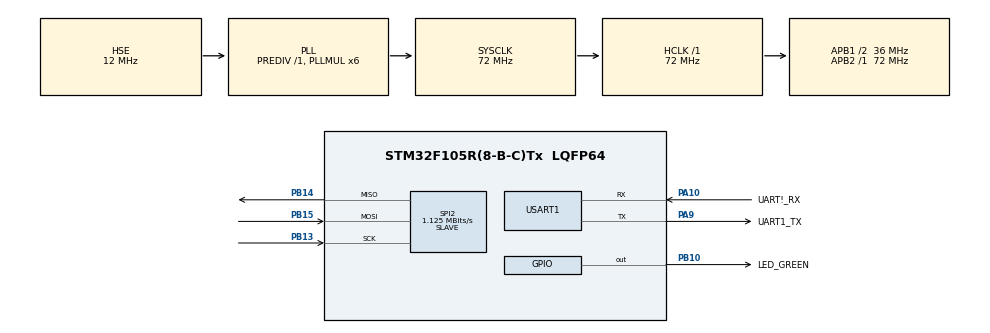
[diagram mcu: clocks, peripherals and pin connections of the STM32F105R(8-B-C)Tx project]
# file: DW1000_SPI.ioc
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Mcu.Family=STM32F1
Mcu.Name=STM32F105R(8-B-C)Tx
Mcu.Package=LQFP64
NVIC.PriorityGroup=NVIC_PRIORITYGROUP_4
PA10.GPIO_Label=UART\!_RX
PA10.Mode=Asynchronous
PA10.Signal=USART1_RX
PA13.Mode=JTAG_5_pins
PA13.Signal=SYS_JTMS-SWDIO
PA14.Mode=JTAG_5_pins
PA14.Signal=SYS_JTCK-SWCLK
PA15.Mode=JTAG_5_pins
PA15.Signal=SYS_JTDI
PA9.GPIO_Label=UART1_TX
PA9.Mode=Asynchronous
PA9.Signal=USART1_TX
PB10.GPIO_Label=LED_GREEN
PB10.GPIO_Speed=GPIO_SPEED_FREQ_HIGH
PB10.PinState=GPIO_PIN_SET
PB10.Signal=GPIO_Output
PB13.Mode=Full_Duplex_Slave
PB13.Signal=SPI2_SCK
PB14.Mode=Full_Duplex_Slave
PB14.Signal=SPI2_MISO
PB15.Mode=Full_Duplex_Slave
PB15.Signal=SPI2_MOSI
PB3.Mode=JTAG_5_pins
PB3.Signal=SYS_JTDO
PB4.Mode=JTAG_5_pins
PB4.Signal=SYS_NJTRST
PD0-OSC_IN.Mode=HSE-External-Oscillator
PD0-OSC_IN.Signal=RCC_OSC_IN
PD1-OSC_OUT.Mode=HSE-External-Oscillator
PD1-OSC_OUT.Signal=RCC_OSC_OUT
ProjectManager.HeapSize=0x2000
ProjectManager.StackSize=0x4000
ProjectManager.TargetToolchain=MDK-ARM V5
RCC.AHBFreq_Value=72000000
RCC.APB1CLKDivider=RCC_HCLK_DIV2
RCC.APB1Freq_Value=36000000
RCC.APB1TimFreq_Value=72000000
RCC.APB2Freq_Value=72000000
RCC.APB2TimFreq_Value=72000000
RCC.HCLKFreq_Value=72000000
RCC.HSE_VALUE=12000000
RCC.PLLMUL=RCC_PLL_MUL6
RCC.PLLSourceVirtual=RCC_PLLSOURCE_HSE
RCC.SYSCLKFreq_VALUE=72000000
RCC.SYSCLKSource=RCC_SYSCLKSOURCE_PLLCLK
RCC.USBFreq_Value=48000000
SPI2.BaudRatePrescaler=SPI_BAUDRATEPRESCALER_32
SPI2.CalculateBaudRate=1.125 MBits/s
SPI2.Direction=SPI_DIRECTION_2LINES
SPI2.Mode=SPI_MODE_SLAVE
SPI2.VirtualType=VM_SLAVE
USART1.VirtualMode=VM_ASYNC
board=DW1000_SPI

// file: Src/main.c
/**
  ******************************************************************************
  * File Name          : main.c
  * Description        : Main program body
  ******************************************************************************
  ** This notice applies to any and all portions of this file
  * that are not between comment pairs USER CODE BEGIN and
  * USER CODE END. Other portions of this file, whether
  * inserted by the user or by software development tools
  * are owned by their respective copyright owners.
  *
  * COPYRIGHT(c) 2017 STMicroelectronics
  *
  * Redistribution and use in source and binary forms, with or without modification,
  * are permitted provided that the following conditions are met:
  *   1. Redistributions of source code must retain the above copyright notice,
  *      this list of conditions and the following disclaimer.
  *   2. Redistributions in binary form must reproduce the above copyright notice,
  *      this list of conditions and the following disclaimer in the documentation
  *      and/or other materials provided with the distribution.
  *   3. Neither the name of STMicroelectronics nor the names of its contributors
  *      may be used to endorse or promote products derived from this software
  *      without specific prior written permission.
  *
  * THIS SOFTWARE IS PROVIDED BY THE COPYRIGHT HOLDERS AND CONTRIBUTORS "AS IS"
  * AND ANY EXPRESS OR IMPLIED WARRANTIES, INCLUDING, BUT NOT LIMITED TO, THE
  * IMPLIED WARRANTIES OF MERCHANTABILITY AND FITNESS FOR A PARTICULAR PURPOSE ARE
  * DISCLAIMED. IN NO EVENT SHALL THE COPYRIGHT HOLDER OR CONTRIBUTORS BE LIABLE
  * FOR ANY DIRECT, INDIRECT, INCIDENTAL, SPECIAL, EXEMPLARY, OR CONSEQUENTIAL
  * DAMAGES (INCLUDING, BUT NOT LIMITED TO, PROCUREMENT OF SUBSTITUTE GOODS OR
  * SERVICES; LOSS OF USE, DATA, OR PROFITS; OR BUSINESS INTERRUPTION) HOWEVER
  * CAUSED AND ON ANY THEORY OF LIABILITY, WHETHER IN CONTRACT, STRICT LIABILITY,
  * OR TORT (INCLUDING NEGLIGENCE OR OTHERWISE) ARISING IN ANY WAY OUT OF THE USE
  * OF THIS SOFTWARE, EVEN IF ADVISED OF THE POSSIBILITY OF SUCH DAMAGE.
  *
  ******************************************************************************
  */
#include "main.h"
#include "stm32f1xx_hal.h"
#include <stdint.h>
#include <string.h>

SPI_HandleTypeDef hspi2;

UART_HandleTypeDef huart1;

/* USER CODE BEGIN PV */
/* Private variables ---------------------------------------------------------*/

/* USER CODE END PV */

void SystemClock_Config(void);
static void MX_GPIO_Init(void);
static void MX_SPI2_Init(void);
static void MX_USART1_UART_Init(void);
void sendresult(void);

uint8_t result_read_flag=0;

/* Buffer used for transmission */
uint8_t aTxBuffer[10];
uint8_t aa[10] = {0x0F,0x1F,0x2F,0x3F,0x4F,0x5B,0x0B,0x0B,0x0B,0x0B};
/* Buffer used for reception */
uint8_t aRxBuffer[10];

/* USER CODE BEGIN PFP */
/* Private function prototypes -----------------------------------------------*/

/* USER CODE END PFP */

int main(void)
{

  /* MCU Configuration----------------------------------------------------------*/

  /* Reset of all peripherals, Initializes the Flash interface and the Systick. */
  HAL_Init();

  /* Configure the system clock */
  SystemClock_Config();

  /* Initialize all configured peripherals */
  MX_GPIO_Init();
  MX_SPI2_Init();
  MX_USART1_UART_Init();

  /* USER CODE BEGIN 2 */
	HAL_Delay(1000);

  /* USER CODE END 2 */

  /* Infinite loop */
  /* USER CODE BEGIN WHILE */
	sendresult();
	result_read_flag=1;
  while (1)
  {
		HAL_UART_Transmit(&huart1,"a",1,5000);
		HAL_Delay(100);
		if(result_read_flag==0){
			HAL_UART_Transmit(&huart1,aRxBuffer,5,5000);
			result_read_flag=1;
			sendresult();
		}
  /* USER CODE END WHILE */

  }

}

/** System Clock Configuration
*/
void SystemClock_Config(void)
{

  RCC_OscInitTypeDef RCC_OscInitStruct;
  RCC_ClkInitTypeDef RCC_ClkInitStruct;

    /**Initializes the CPU, AHB and APB busses clocks
    */
  RCC_OscInitStruct.OscillatorType = RCC_OSCILLATORTYPE_HSE;
  RCC_OscInitStruct.HSEState = RCC_HSE_ON;
  RCC_OscInitStruct.HSEPredivValue = RCC_HSE_PREDIV_DIV1;
  RCC_OscInitStruct.HSIState = RCC_HSI_ON;
  RCC_OscInitStruct.Prediv1Source = RCC_PREDIV1_SOURCE_HSE;
  RCC_OscInitStruct.PLL.PLLState = RCC_PLL_ON;
  RCC_OscInitStruct.PLL.PLLSource = RCC_PLLSOURCE_HSE;
  RCC_OscInitStruct.PLL.PLLMUL = RCC_PLL_MUL6;
  RCC_OscInitStruct.PLL2.PLL2State = RCC_PLL_NONE;
  if (HAL_RCC_OscConfig(&RCC_OscInitStruct) != HAL_OK)
  {
    _Error_Handler(__FILE__, __LINE__);
  }

    /**Initializes the CPU, AHB and APB busses clocks
    */
  RCC_ClkInitStruct.ClockType = RCC_CLOCKTYPE_HCLK|RCC_CLOCKTYPE_SYSCLK
                              |RCC_CLOCKTYPE_PCLK1|RCC_CLOCKTYPE_PCLK2;
  RCC_ClkInitStruct.SYSCLKSource = RCC_SYSCLKSOURCE_PLLCLK;
  RCC_ClkInitStruct.AHBCLKDivider = RCC_SYSCLK_DIV1;
  RCC_ClkInitStruct.APB1CLKDivider = RCC_HCLK_DIV2;
  RCC_ClkInitStruct.APB2CLKDivider = RCC_HCLK_DIV1;

  if (HAL_RCC_ClockConfig(&RCC_ClkInitStruct, FLASH_LATENCY_2) != HAL_OK)
  {
    _Error_Handler(__FILE__, __LINE__);
  }

    /**Configure the Systick interrupt time
    */
  HAL_SYSTICK_Config(HAL_RCC_GetHCLKFreq()/1000);

    /**Configure the Systick
    */
  HAL_SYSTICK_CLKSourceConfig(SYSTICK_CLKSOURCE_HCLK);

    /**Configure the Systick interrupt time
    */
  __HAL_RCC_PLLI2S_ENABLE();

  /* SysTick_IRQn interrupt configuration */
  HAL_NVIC_SetPriority(SysTick_IRQn, 0, 0);
}

/* SPI2 init function */
static void MX_SPI2_Init(void)
{

  hspi2.Instance = SPI2;
  hspi2.Init.Mode = SPI_MODE_SLAVE;
  hspi2.Init.Direction = SPI_DIRECTION_2LINES;
  hspi2.Init.DataSize = SPI_DATASIZE_8BIT;
  hspi2.Init.CLKPolarity = SPI_POLARITY_LOW;
  hspi2.Init.CLKPhase = SPI_PHASE_1EDGE;
  hspi2.Init.NSS = SPI_NSS_SOFT;
  hspi2.Init.BaudRatePrescaler = SPI_BAUDRATEPRESCALER_128;
  hspi2.Init.FirstBit = SPI_FIRSTBIT_MSB;
  hspi2.Init.TIMode = SPI_TIMODE_DISABLE;
  hspi2.Init.CRCCalculation = SPI_CRCCALCULATION_DISABLE;
  hspi2.Init.CRCPolynomial = 10;
  if (HAL_SPI_Init(&hspi2) != HAL_OK)
  {
    _Error_Handler(__FILE__, __LINE__);
  }

}

/* USART1 init function */
static void MX_USART1_UART_Init(void)
{

  huart1.Instance = USART1;
  huart1.Init.BaudRate = 115200;
  huart1.Init.WordLength = UART_WORDLENGTH_8B;
  huart1.Init.StopBits = UART_STOPBITS_1;
  huart1.Init.Parity = UART_PARITY_NONE;
  huart1.Init.Mode = UART_MODE_TX_RX;
  huart1.Init.HwFlowCtl = UART_HWCONTROL_NONE;
  huart1.Init.OverSampling = UART_OVERSAMPLING_16;
  if (HAL_UART_Init(&huart1) != HAL_OK)
  {
    _Error_Handler(__FILE__, __LINE__);
  }

}

/** Configure pins as
        * Analog
        * Input
        * Output
        * EVENT_OUT
        * EXTI
*/
static void MX_GPIO_Init(void)
{

  GPIO_InitTypeDef GPIO_InitStruct;

  /* GPIO Ports Clock Enable */
  __HAL_RCC_GPIOD_CLK_ENABLE();
  __HAL_RCC_GPIOB_CLK_ENABLE();
  __HAL_RCC_GPIOA_CLK_ENABLE();

  /*Configure GPIO pin Output Level */
  HAL_GPIO_WritePin(LED_GREEN_GPIO_Port, LED_GREEN_Pin, GPIO_PIN_SET);

  /*Configure GPIO pin : LED_GREEN_Pin */
  GPIO_InitStruct.Pin = LED_GREEN_Pin;
  GPIO_InitStruct.Mode = GPIO_MODE_OUTPUT_PP;
  GPIO_InitStruct.Speed = GPIO_SPEED_FREQ_HIGH;
  HAL_GPIO_Init(LED_GREEN_GPIO_Port, &GPIO_InitStruct);

}

/* USER CODE BEGIN 4 */

/**
  * @brief  TxRx Transfer completed callback.
  * @param  hspi: SPI handle
  * @note   This example shows a simple way to report end of DMA TxRx transfer, and
  *         you can add your own implementation.
  * @retval None
  */

/**
  * @brief  SPI error callbacks.
  * @param  hspi: SPI handle
  * @note   This example shows a simple way to report transfer error, and you can
  *         add your own implementation.
  * @retval None
  */
void HAL_SPI_ErrorCallback(SPI_HandleTypeDef *hspi)
{
  _Error_Handler(0x00,0);
}

/* USER CODE END 4 */

void _Error_Handler(char * file, int line)
{
  /* USER CODE BEGIN Error_Handler_Debug */
  /* User can add his own implementation to report the HAL error return state */

  while(1)
  {
		HAL_GPIO_WritePin(GPIOB, GPIO_PIN_10, GPIO_PIN_SET);// Turns selected LED Off
		HAL_Delay(200);// 延时1秒
		HAL_GPIO_WritePin(GPIOB, GPIO_PIN_10, GPIO_PIN_RESET);//Turns selected LED ON
		HAL_Delay(200);// 延时1秒

  }
  /* USER CODE END Error_Handler_Debug */
}

void HAL_SPI_TxRxCpltCallback(SPI_HandleTypeDef *hspi){
	if(hspi==&hspi2){
		HAL_UART_Transmit(&huart1,"zz",2,5000);
		result_read_flag=0;
	}
}
void sendresult(void){
		  memcpy(aTxBuffer, aa,10);
			if(HAL_SPI_TransmitReceive_IT(&hspi2, (uint8_t*)aTxBuffer, (uint8_t *)aRxBuffer, 5) != HAL_OK)
			{
				/* Transfer error in transmission process */
				Error_Handler();
			}

}

/************************ (C) COPYRIGHT STMicroelectronics *****END OF FILE****/
